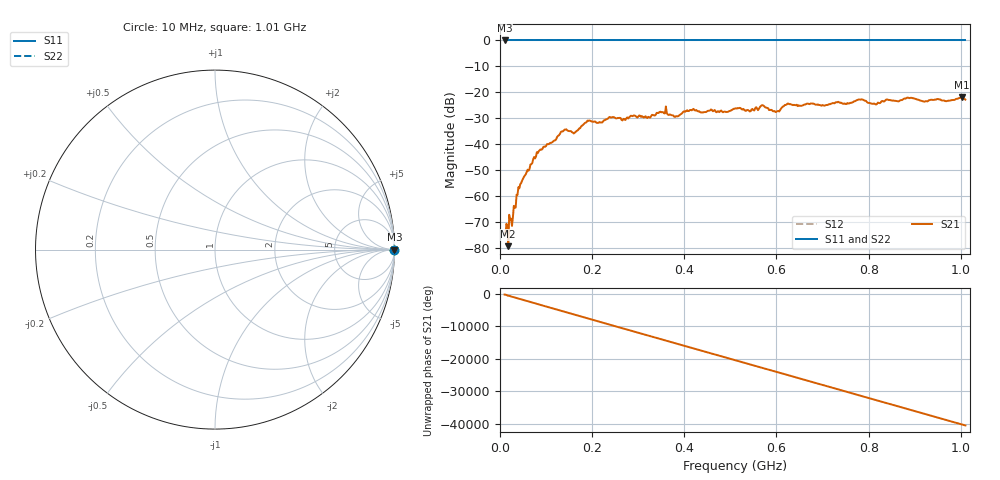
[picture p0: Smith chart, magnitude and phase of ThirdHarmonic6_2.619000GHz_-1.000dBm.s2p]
! 8/17/2025 5:47:08 AM
! C:\ANRITSUVNA\TEMP\TEMP.S2P
! CHANNEL.1
! TR.MEASUREMENT
! RAW.DATA
! RF.CORRECTION.OFF
! AVERAGING.OFF
! IF.BANDWIDTH: 5KHZ
! SWEEPTYPE:  FREQ.SWEEP(Linear)
! Reference Plane Port Info
! PORT:  PORT1  PORT2
! DISTANCE:  0  m  0  m
! TIME:  0  s  0  s
! PHASE.OFFSET:  0  deg.  0  deg.
! LOSS:  0  dB  0  dB
! REF.LOSS:  0  dB  0  dB
! REF.FREQ:  0  Hz  0  Hz
! Power Info
! POWER:  -20  dBm  -20  dBm
! EFF.POWER:  -20  dBm  -20  dBm
! SOURCE.ATTEN:  0  dB  0  dB
! TEST.ATTEN:  0  dB  0  dB
# GHZ S RI R 50.0
! FREQ.GHZ  S11RE  S11IM  S21RE  S21IM  S12RE  S12IM  S22RE  S22IM
!; PortSelection: Port_12
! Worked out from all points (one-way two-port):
!   501 points, 10 MHz to 1.01 GHz, reference 50 ohm
!   highest |S21| = -21.86 dB at 1.002 GHz (marker M1); lowest = -79.1 dB at 18 MHz (marker M2)
!   lowest |S11| = 0.0 dB at 10 MHz (marker M3)
!   |S11| at or under -10 dB: nowhere
!   |S22| runs from 0.0 to 0.0 dB; largest |S21 - S12| = 1.1
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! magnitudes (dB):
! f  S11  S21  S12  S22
! 10 MHz  0.0  -74.5  0.0  0.0
! 14 MHz  0.0  -70.5  0.0  0.0
! 18 MHz  0.0  -79.1  0.0  0.0
! 30 MHz  0.0  -63.6  0.0  0.0
! 44 MHz  0.0  -55.2  0.0  0.0
! 84 MHz  0.0  -42.6  0.0  0.0
! 136 MHz  0.0  -35.0  0.0  0.0
! 162 MHz  0.0  -35.5  0.0  0.0
! 178 MHz  0.0  -32.8  0.0  0.0
! 192 MHz  0.0  -30.9  0.0  0.0
! 322 MHz  0.0  -29.4  0.0  0.0
! 344 MHz  0.0  -27.9  0.0  0.0
! 382 MHz  0.0  -29.1  0.0  0.0
! 416 MHz  0.0  -26.9  0.0  0.0
! 510 MHz  0.0  -26.2  0.0  0.0
! 570 MHz  0.0  -24.9  0.0  0.0
! 602 MHz  0.0  -27.1  0.0  0.0
! 622 MHz  0.0  -24.6  0.0  0.0
! 678 MHz  0.0  -24.3  0.0  0.0
! 844 MHz  0.0  -22.9  0.0  0.0
! 1.002 GHz  0.0  -21.9  0.0  0.0
! 1.01 GHz  0.0  -22.7  0.0  0.0
